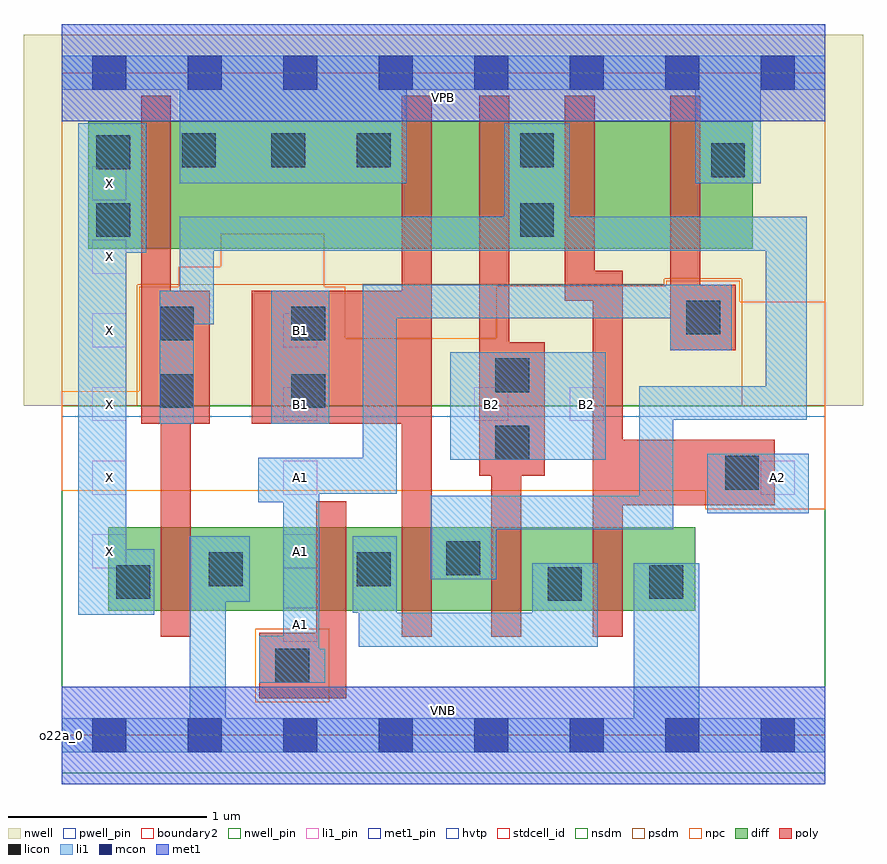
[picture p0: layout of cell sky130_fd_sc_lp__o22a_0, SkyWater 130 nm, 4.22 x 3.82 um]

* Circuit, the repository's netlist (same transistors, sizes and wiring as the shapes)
* Copyright 2020 The SkyWater PDK Authors
*
* Licensed under the Apache License, Version 2.0 (the "License");
* you may not use this file except in compliance with the License.
* You may obtain a copy of the License at
*
*     https://www.apache.org/licenses/LICENSE-2.0
*
* Unless required by applicable law or agreed to in writing, software
* distributed under the License is distributed on an "AS IS" BASIS,
* WITHOUT WARRANTIES OR CONDITIONS OF ANY KIND, either express or implied.
* See the License for the specific language governing permissions and
* limitations under the License.
*
* SPDX-License-Identifier: Apache-2.0

.SUBCKT sky130_fd_sc_lp__o22a_0 A1 A2 B1 B2 VGND VNB VPB VPWR X
*.PININFO A1:I A2:I B1:I B2:I VGND:I VNB:I VPB:I VPWR:I X:O
MMPA0 VPWR A1 sndA1 VPB sky130_fd_pr__pfet_01v8_hvt m=1 w=0.64U l=0.15U mult=1
+ sa=0.265 sb=0.265 sd=0.28 area=0.063 perim=1.14
MMPA1 sndA1 A2 y VPB sky130_fd_pr__pfet_01v8_hvt m=1 w=0.64U l=0.15U mult=1 sa=0.265
+ sb=0.265 sd=0.28 area=0.063 perim=1.14
MMPB0 VPWR B1 sndB1 VPB sky130_fd_pr__pfet_01v8_hvt m=1 w=0.64U l=0.15U mult=1
+ sa=0.265 sb=0.265 sd=0.28 area=0.063 perim=1.14
MMPB1 sndB1 B2 y VPB sky130_fd_pr__pfet_01v8_hvt m=1 w=0.64U l=0.15U mult=1 sa=0.265
+ sb=0.265 sd=0.28 area=0.063 perim=1.14
MMIPX X y VPWR VPB sky130_fd_pr__pfet_01v8_hvt m=1 w=0.64U l=0.15U mult=1 sa=0.265
+ sb=0.265 sd=0.28 area=0.063 perim=1.14
MMNA0 pndA A1 VGND VNB sky130_fd_pr__nfet_01v8 m=1 w=0.42U l=0.15U mult=1 sa=0.265
+ sb=0.265 sd=0.28 area=0.063 perim=1.14
MMNA1 pndA A2 VGND VNB sky130_fd_pr__nfet_01v8 m=1 w=0.42U l=0.15U mult=1 sa=0.265
+ sb=0.265 sd=0.28 area=0.063 perim=1.14
MMNB0 y B1 pndA VNB sky130_fd_pr__nfet_01v8 m=1 w=0.42U l=0.15U mult=1 sa=0.265
+ sb=0.265 sd=0.28 area=0.063 perim=1.14
MMNB1 y B2 pndA VNB sky130_fd_pr__nfet_01v8 m=1 w=0.42U l=0.15U mult=1 sa=0.265
+ sb=0.265 sd=0.28 area=0.063 perim=1.14
MMINX X y VGND VNB sky130_fd_pr__nfet_01v8 m=1 w=0.42U l=0.15U mult=1 sa=0.265
+ sb=0.265 sd=0.28 area=0.063 perim=1.14
.ENDS sky130_fd_sc_lp__o22a_0

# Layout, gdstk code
import gdstk
lib = gdstk.Library(unit=1e-6, precision=1e-09)
def R(c, l, rs):  # rectangles x0, y0, x1, y1
    for r in rs: c.add(gdstk.rectangle(r[:2], r[2:], *l))
def A(c, l, x, y, w, h, nx, ny, dx, dy):  # array of equal rectangles
    R(c, l, [(x+i*dx, y+j*dy, x+i*dx+w, y+j*dy+h) for i in range(nx) for j in range(ny)])
def P(c, l, *ps):  # polygons
    for p in ps: c.add(gdstk.Polygon(p, *l))
nwell_pin = (64, 16)
nwell = (64, 20)
diff = (65, 20)
poly = (66, 20)
licon = (66, 44)
li1_pin = (67, 16)
li1 = (67, 20)
mcon = (67, 44)
met1_pin = (68, 16)
met1 = (68, 20)
hvtp = (78, 44)
stdcell_id = (81, 4)
nsdm = (93, 44)
psdm = (94, 20)
npc = (95, 20)
pwell_pin = (122, 16)
boundary2 = (236, 0)

sky130_fd_sc_lp__o22a_0 = lib.new_cell('sky130_fd_sc_lp__o22a_0')
R(sky130_fd_sc_lp__o22a_0, nwell_pin, [(0,3.085,3.84,3.33)])
R(sky130_fd_sc_lp__o22a_0, nwell, [(-0.19,1.655,4.03,3.52)])
R(sky130_fd_sc_lp__o22a_0, diff, [(0.235,0.625,3.185,1.045), (0.135,2.445,3.475,3.085)])
P(sky130_fd_sc_lp__o22a_0, poly, [(0.745,2.235),(0.55,2.235),(0.55,3.215),(0.4,3.215),(0.4,1.565),(0.5,1.565),(0.5,0.495),(0.65,0.495),(0.65,1.565),(0.745,1.565)],
  [(1.43,1.175),(1.28,1.175),(1.28,0.515),(0.995,0.515),(0.995,0.185),(1.43,0.185)],
  [(1.86,3.215),(1.71,3.215),(1.71,2.235),(0.955,2.235),(0.955,1.565),(1.71,1.565),(1.71,0.495),(1.86,0.495)],
  [(2.43,1.975),(2.25,1.975),(2.25,3.215),(2.1,3.215),(2.1,1.305),(2.16,1.305),(2.16,0.495),(2.31,0.495),(2.31,1.305),(2.43,1.305)],
  [(3.39,2.265),(3.21,2.265),(3.21,3.215),(3.06,3.215),(3.06,1.935),(3.39,1.935)],
  [(3.585,1.485),(2.82,1.485),(2.82,2.335),(2.68,2.335),(2.68,3.215),(2.53,3.215),(2.53,2.185),(2.67,2.185),(2.67,0.495),(2.82,0.495),(2.82,1.155),(3.585,1.155)])
R(sky130_fd_sc_lp__o22a_0, licon, [(1.075,0.265,1.245,0.435), (2.445,0.675,2.615,0.845), (0.275,0.685,0.445,0.855), (2.955,0.685,3.125,0.855), (0.74,0.75,0.91,0.92), (1.485,0.75,1.655,0.92), (1.935,0.805,2.105,0.975), (3.335,1.235,3.505,1.405), (2.18,1.385,2.35,1.555), (0.495,1.645,0.665,1.815), (1.155,1.645,1.325,1.815), (2.18,1.725,2.35,1.895), (0.495,1.985,0.665,2.155), (1.155,1.985,1.325,2.155), (3.14,2.015,3.31,2.185), (0.175,2.505,0.345,2.675), (2.305,2.505,2.475,2.675), (3.265,2.805,3.435,2.975), (0.175,2.845,0.345,3.015), (0.605,2.855,0.775,3.025), (1.055,2.855,1.225,3.025), (1.485,2.855,1.655,3.025), (2.305,2.855,2.475,3.025)])
A(sky130_fd_sc_lp__o22a_0, li1_pin, 1.115, 0.47, 0.17, 0.17, 1, 3, 0, 0.37)
A(sky130_fd_sc_lp__o22a_0, li1_pin, 0.155, 1.58, 0.17, 0.17, 3, 1, 0.96, 0)
A(sky130_fd_sc_lp__o22a_0, li1_pin, 0.155, 1.95, 0.17, 0.17, 1, 3, 0, 0.37)
R(sky130_fd_sc_lp__o22a_0, li1_pin, [(0.155,0.84,0.325,1.01), (0.155,1.21,0.325,1.38), (3.515,1.21,3.685,1.38), (2.555,1.58,2.725,1.75), (1.115,1.95,1.285,2.12)])
R(sky130_fd_sc_lp__o22a_0, li1, [(3.245,1.115,3.755,1.415), (1.955,1.385,2.735,1.925), (1.055,1.565,1.345,2.235)])
P(sky130_fd_sc_lp__o22a_0, li1, [(0.465,0.935),(0.325,0.935),(0.325,2.425),(0.425,2.425),(0.425,3.075),(0.085,3.075),(0.085,0.605),(0.465,0.605)],
  [(3.84,3.415),(0,3.415),(0,3.245),(0.595,3.245),(0.595,2.775),(1.735,2.775),(1.735,3.245),(3.185,3.245),(3.185,2.775),(3.515,2.775),(3.515,3.245),(3.84,3.245)],
  [(2.695,0.865),(2.365,0.865),(2.365,0.615),(1.685,0.615),(1.685,1),(1.465,1),(1.465,0.615),(1.495,0.615),(1.495,0.445),(2.695,0.445)],
  [(3.37,2.265),(1.515,2.265),(1.515,1.395),(0.99,1.395),(0.99,1.17),(1.115,1.17),(1.115,0.5),(0.995,0.5),(0.995,0.265),(1.325,0.265),(1.325,0.435),(1.295,0.435),(1.295,1.215),(1.685,1.215),(1.685,2.095),(3.06,2.095),(3.06,1.935),(3.37,1.935)],
  [(3.745,2.605),(2.555,2.605),(2.555,3.075),(2.225,3.075),(2.225,2.605),(0.595,2.605),(0.595,2.235),(0.495,2.235),(0.495,1.565),(0.665,1.565),(0.665,2.065),(0.765,2.065),(0.765,2.435),(3.54,2.435),(3.54,1.755),(2.905,1.755),(2.905,1.205),(1.855,1.205),(1.855,0.785),(2.185,0.785),(2.185,1.035),(3.075,1.035),(3.075,1.585),(3.745,1.585)],
  [(3.84,0.085),(3.205,0.085),(3.205,0.865),(2.875,0.865),(2.875,0.085),(0.825,0.085),(0.825,0.67),(0.945,0.67),(0.945,1),(0.645,1),(0.645,0.085),(0,0.085),(0,-0.085),(3.84,-0.085)])
A(sky130_fd_sc_lp__o22a_0, mcon, 0.155, -0.085, 0.17, 0.17, 8, 2, 0.48, 3.33)
R(sky130_fd_sc_lp__o22a_0, met1_pin, [(0,0,3.84,0.245), (0,3.085,3.84,3.33)])
R(sky130_fd_sc_lp__o22a_0, met1, [(0,-0.245,3.84,0.245), (0,3.085,3.84,3.575)])
R(sky130_fd_sc_lp__o22a_0, hvtp, [(0,1.6,3.84,3.33)])
R(sky130_fd_sc_lp__o22a_0, stdcell_id, [(0,0,3.84,3.33)])
R(sky130_fd_sc_lp__o22a_0, nsdm, [(0,-0.19,3.84,1.655)])
P(sky130_fd_sc_lp__o22a_0, psdm, [(3.84,3.52),(0,3.52),(0,1.655),(0.38,1.655),(0.38,2.265),(3.03,2.265),(3.03,2.295),(3.42,2.295),(3.42,1.655),(3.84,1.655)])
R(sky130_fd_sc_lp__o22a_0, npc, [(0.975,0.165,1.345,0.535)])
P(sky130_fd_sc_lp__o22a_0, npc, [(3.84,2.18),(3.41,2.18),(3.41,2.285),(3.04,2.285),(3.04,2.26),(2.185,2.26),(2.185,1.995),(1.425,1.995),(1.425,2.255),(1.32,2.255),(1.32,2.52),(0.8,2.52),(0.8,2.355),(0.59,2.355),(0.59,2.255),(0.39,2.255),(0.39,1.73),(0,1.73),(0,1.23),(3.235,1.23),(3.235,1.135),(3.84,1.135)])
R(sky130_fd_sc_lp__o22a_0, pwell_pin, [(0,0,3.84,0.245)])
R(sky130_fd_sc_lp__o22a_0, boundary2, [(0,0,3.84,3.33)])
sky130_fd_sc_lp__o22a_0.add(gdstk.Label('VNB', (1.92,0.123), layer=64, texttype=59))
sky130_fd_sc_lp__o22a_0.add(gdstk.Label('VPB', (1.92,3.208), layer=64, texttype=5))
sky130_fd_sc_lp__o22a_0.add(gdstk.Label('o22a_0', (0,0), layer=83, texttype=44))
sky130_fd_sc_lp__o22a_0.add(gdstk.Label('VPWR', (1.92,3.208), layer=68, texttype=5))
sky130_fd_sc_lp__o22a_0.add(gdstk.Label('VGND', (1.92,0.123), layer=68, texttype=5))
sky130_fd_sc_lp__o22a_0.add(gdstk.Label('A1', (1.2,0.555), layer=67, texttype=5))
sky130_fd_sc_lp__o22a_0.add(gdstk.Label('A1', (1.2,0.925), layer=67, texttype=5))
sky130_fd_sc_lp__o22a_0.add(gdstk.Label('A1', (1.2,1.295), layer=67, texttype=5))
sky130_fd_sc_lp__o22a_0.add(gdstk.Label('A2', (3.6,1.295), layer=67, texttype=5))
sky130_fd_sc_lp__o22a_0.add(gdstk.Label('B1', (1.2,1.665), layer=67, texttype=5))
sky130_fd_sc_lp__o22a_0.add(gdstk.Label('B2', (2.16,1.665), layer=67, texttype=5))
sky130_fd_sc_lp__o22a_0.add(gdstk.Label('B2', (2.64,1.665), layer=67, texttype=5))
sky130_fd_sc_lp__o22a_0.add(gdstk.Label('X', (0.24,0.925), layer=67, texttype=5))
sky130_fd_sc_lp__o22a_0.add(gdstk.Label('X', (0.24,1.295), layer=67, texttype=5))
sky130_fd_sc_lp__o22a_0.add(gdstk.Label('X', (0.24,1.665), layer=67, texttype=5))
sky130_fd_sc_lp__o22a_0.add(gdstk.Label('X', (0.24,2.035), layer=67, texttype=5))
sky130_fd_sc_lp__o22a_0.add(gdstk.Label('X', (0.24,2.405), layer=67, texttype=5))
sky130_fd_sc_lp__o22a_0.add(gdstk.Label('X', (0.24,2.775), layer=67, texttype=5))
sky130_fd_sc_lp__o22a_0.add(gdstk.Label('B1', (1.2,2.035), layer=67, texttype=5))

lib.write_gds('sky130_fd_sc_lp__o22a_0.gds')
